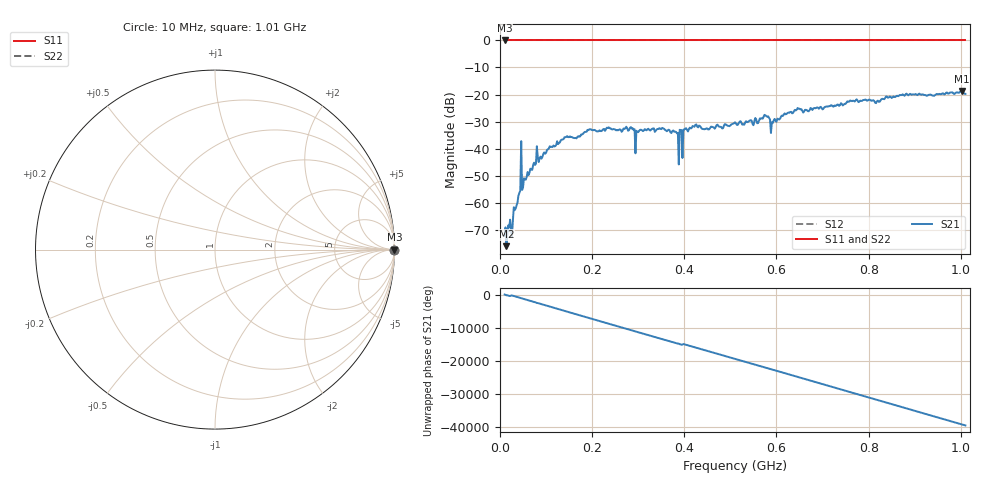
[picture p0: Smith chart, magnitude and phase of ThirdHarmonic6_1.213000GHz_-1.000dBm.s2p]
! 8/16/2025 12:39:54 PM
! C:\ANRITSUVNA\TEMP\TEMP.S2P
! CHANNEL.1
! TR.MEASUREMENT
! RAW.DATA
! RF.CORRECTION.OFF
! AVERAGING.OFF
! IF.BANDWIDTH: 5KHZ
! SWEEPTYPE:  FREQ.SWEEP(Linear)
! Reference Plane Port Info
! PORT:  PORT1  PORT2
! DISTANCE:  0  m  0  m
! TIME:  0  s  0  s
! PHASE.OFFSET:  0  deg.  0  deg.
! LOSS:  0  dB  0  dB
! REF.LOSS:  0  dB  0  dB
! REF.FREQ:  0  Hz  0  Hz
! Power Info
! POWER:  -20  dBm  -20  dBm
! EFF.POWER:  -20  dBm  -20  dBm
! SOURCE.ATTEN:  0  dB  0  dB
! TEST.ATTEN:  0  dB  0  dB
# GHZ S RI R 50.0
! FREQ.GHZ  S11RE  S11IM  S21RE  S21IM  S12RE  S12IM  S22RE  S22IM
!; PortSelection: Port_12
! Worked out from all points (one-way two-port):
!   501 points, 10 MHz to 1.01 GHz, reference 50 ohm
!   highest |S21| = -18.70 dB at 1.002 GHz (marker M1); lowest = -76.1 dB at 14 MHz (marker M2)
!   lowest |S11| = 0.0 dB at 10 MHz (marker M3)
!   |S11| at or under -10 dB: nowhere
!   |S22| runs from 0.0 to 0.0 dB; largest |S21 - S12| = 1.1
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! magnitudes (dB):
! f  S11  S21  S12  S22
! 10 MHz  0.0  -72.3  0.0  0.0
! 14 MHz  0.0  -76.1  0.0  0.0
! 28 MHz  0.0  -66.5  0.0  0.0
! 40 MHz  0.0  -57.4  0.0  0.0
! 42 MHz  0.0  -56.4  0.0  0.0
! 50 MHz  0.0  -54.3  0.0  0.0
! 52 MHz  0.0  -51.0  0.0  0.0
! 78 MHz  0.0  -45.6  0.0  0.0
! 108 MHz  0.0  -39.1  0.0  0.0
! 178 MHz  0.0  -34.8  0.0  0.0
! 344 MHz  0.0  -32.7  0.0  0.0
! 382 MHz  0.0  -33.8  0.0  0.0
! 392 MHz  0.0  -33.2  0.0  0.0
! 402 MHz  0.0  -32.6  0.0  0.0
! 422 MHz  0.0  -31.9  0.0  0.0
! 510 MHz  0.0  -30.3  0.0  0.0
! 578 MHz  0.0  -28.0  0.0  0.0
! 592 MHz  0.0  -30.5  0.0  0.0
! 678 MHz  0.0  -25.7  0.0  0.0
! 844 MHz  0.0  -21.0  0.0  0.0
! 1.002 GHz  0.0  -18.7  0.0  0.0
! 1.01 GHz  0.0  -19.7  0.0  0.0
